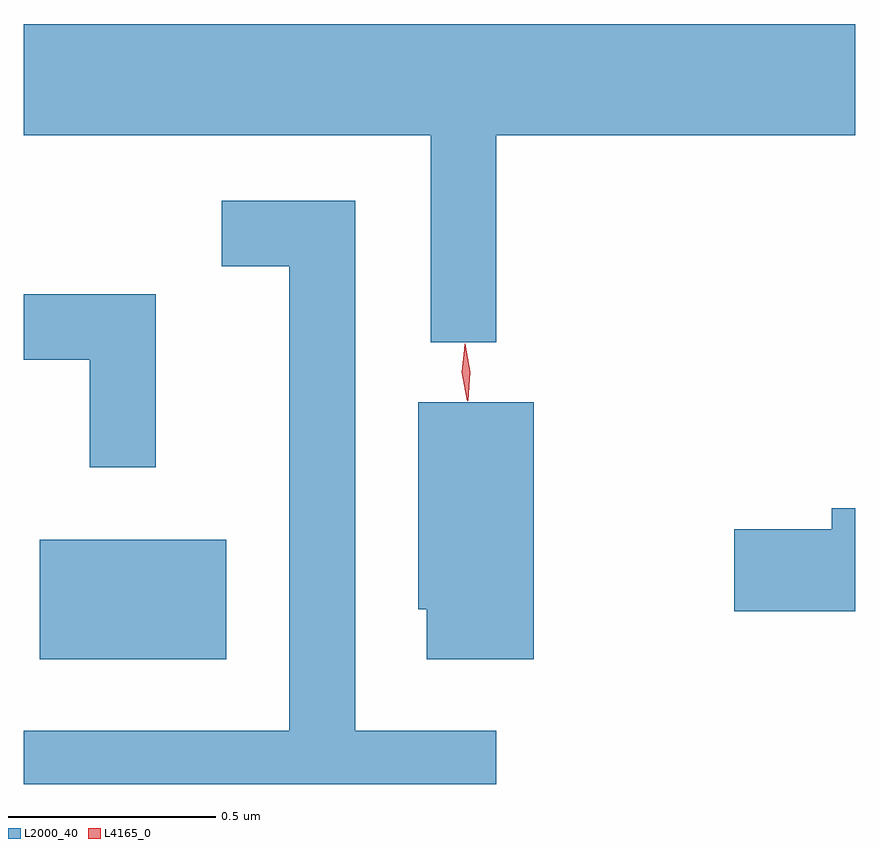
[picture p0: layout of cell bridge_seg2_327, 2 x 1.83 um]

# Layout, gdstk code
import gdstk
lib = gdstk.Library(unit=1e-6, precision=1e-09)
def R(c, l, rs):  # rectangles x0, y0, x1, y1
    for r in rs: c.add(gdstk.rectangle(r[:2], r[2:], *l))
def P(c, l, *ps):  # polygons
    for p in ps: c.add(gdstk.Polygon(p, *l))
L2000_40 = (2000, 40)
L4165_0 = (4165, 0)

bridge_seg2_327 = lib.new_cell('bridge_seg2_327')
R(bridge_seg2_327, L2000_40, [(429.306,1095.896,429.754,1096.184)])
P(bridge_seg2_327, L2000_40, [(430.404,1097.156),(431.267,1097.156),(431.267,1097.424),(429.267,1097.424),(429.267,1097.156),(430.246,1097.156),(430.246,1096.658),(430.404,1096.658)],
  [(430.404,1095.724),(430.064,1095.724),(430.064,1096.999),(429.743,1096.999),(429.743,1096.841),(429.906,1096.841),(429.906,1095.724),(429.267,1095.724),(429.267,1095.596),(430.404,1095.596)],
  [(429.584,1096.774),(429.267,1096.774),(429.267,1096.616),(429.426,1096.616),(429.426,1096.358),(429.584,1096.358)],
  [(430.494,1096.514),(430.216,1096.514),(430.216,1096.016),(430.236,1096.016),(430.236,1095.896),(430.494,1095.896)],
  [(431.267,1096.259),(431.211,1096.259),(431.211,1096.209),(430.976,1096.209),(430.976,1096.011),(431.267,1096.011)])
P(bridge_seg2_327, L4165_0, [(430.334,1096.518),(430.322,1096.586),(430.328,1096.655),(430.328,1096.655),(430.329,1096.655),(430.341,1096.587),(430.336,1096.518),(430.335,1096.518)],
  [(430.333,1096.52),(430.333,1096.521),(430.321,1096.586),(430.328,1096.651),(430.328,1096.652),(430.329,1096.651),(430.341,1096.587),(430.334,1096.521)])

lib.write_gds('bridge_seg2_327.gds')
